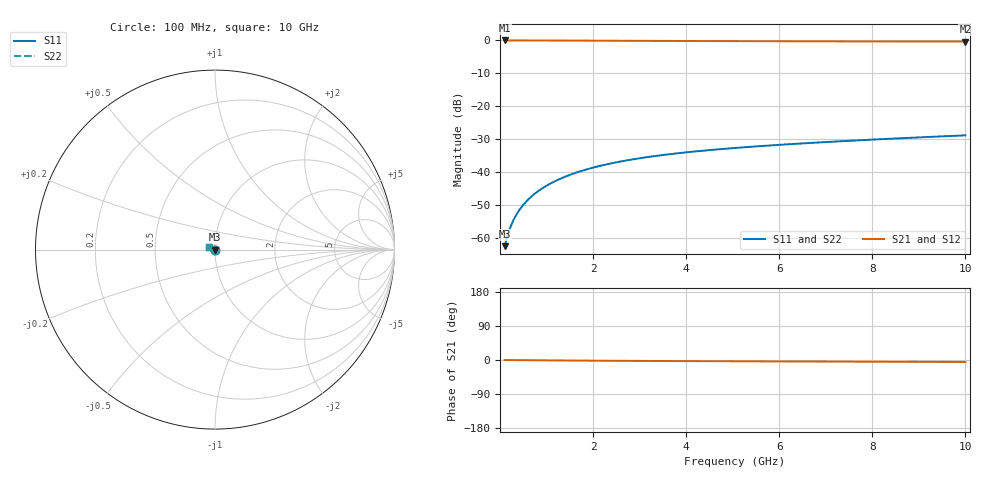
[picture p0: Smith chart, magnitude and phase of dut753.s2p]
! Touchstone file exported from HFSS 2024.1.0
!  File:  C:/UserFiles/LocalFiles/RDL_TSV_Batchsim/temp_TSV1_753_1779871535.aedt
!  Generated:  04:56:15 PM May 27, 2026
!  Design:  TSV1
!  Project:  temp_TSV1_753_1779871535
!  Setup:  Setup1
!  Solution:  Sweep
! Variables:
!  dtsv = 5.8um
!  hbump = 3um
!  htsv = 78.49um
!  lrdl = 252.1521522um
!  p = 40
!  p1 = 44.17um
!  t = 500um
!  trdl = 3um
!  wrdl = 24.89489489um
# GHz S MA R 50.000000
! Terminal data exported
! Port[1] = TSV22_T1
! Port[2] = TSV22_T2
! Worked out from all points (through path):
!   100 points, 100 MHz to 10 GHz, reference 50 ohm
!   highest |S21| = 0.00 dB at 100 MHz (marker M1); lowest = -0.3 dB at 10 GHz (marker M2)
!   lowest |S11| = -62.6 dB at 100 MHz (marker M3), VSWR 1.00, Z = 50 - j0.0631 ohm
!   |S11| at or under -10 dB: start of sweep to end of sweep
!   |S22| runs from -62.6 to -28.9 dB; largest |S21 - S12| = 4.1e-15
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0.1  0.0007431 -58.0  0.9996 -0.1  0.9996 -0.1  0.0007431 -58.0
! Gamma 0 0 0 0
! Port Impedance 50 0 50 0
0.2  0.001319 -75.3  0.9995 -0.2  0.9995 -0.2  0.001319 -75.3
0.3  0.001927 -83.2  0.9994 -0.3  0.9994 -0.3  0.001927 -83.2
0.4  0.002541 -88.3  0.9992 -0.4  0.9992 -0.4  0.002541 -88.3
0.5  0.003157 -92.1  0.999 -0.5  0.999 -0.5  0.003157 -92.1
0.6  0.00377 -95.3  0.9988 -0.6  0.9988 -0.6  0.00377 -95.3
0.7  0.004379 -98.2  0.9985 -0.7  0.9985 -0.7  0.004379 -98.2
0.8  0.004983 -100.8  0.9982 -0.8  0.9982 -0.8  0.004983 -100.8
0.9  0.005582 -103.3  0.9978 -0.9  0.9978 -0.9  0.005582 -103.3
1.1  0.006759 -107.8  0.997 -1.0  0.997 -1.0  0.006759 -107.8
1.4  0.008464 -114.1  0.9956 -1.3  0.9956 -1.3  0.008464 -114.1
1.6  0.009557 -118.1  0.9946 -1.5  0.9946 -1.5  0.009557 -118.1
1.8  0.01061 -121.8  0.9935 -1.6  0.9935 -1.6  0.01061 -121.8
2.1  0.01212 -127.3  0.9917 -1.8  0.9917 -1.8  0.01212 -127.3
2.5  0.014 -134.0  0.9892 -2.1  0.9892 -2.1  0.014 -134.0
2.9  0.01573 -140.4  0.9868 -2.4  0.9868 -2.4  0.01573 -140.4
3.4  0.0177 -147.7  0.9838 -2.6  0.9838 -2.6  0.0177 -147.7
4.2  0.02051 -158.1  0.9795 -3.0  0.9795 -3.0  0.02051 -158.1
5.1  0.0233 -168.3  0.9754 -3.4  0.9754 -3.4  0.0233 -168.3
6.7  0.02769 176.7  0.9698 -4.0  0.9698 -4.0  0.02769 176.7
8.4  0.03202 164.2  0.9658 -4.6  0.9658 -4.6  0.03202 164.2
10  0.03601 154.7  0.963 -5.2  0.963 -5.2  0.03601 154.7
